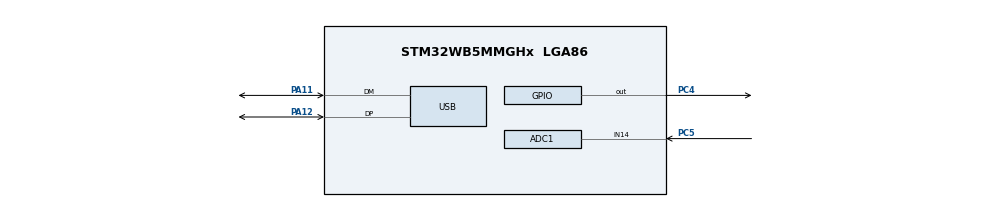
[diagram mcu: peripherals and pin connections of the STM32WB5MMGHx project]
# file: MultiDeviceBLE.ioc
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ADC1.Channel-2\#ChannelRegularConversion=ADC_CHANNEL_14
ADC1.NbrOfConversionFlag=1
ADC1.OffsetNumber-2\#ChannelRegularConversion=ADC_OFFSET_NONE
ADC1.Rank-2\#ChannelRegularConversion=1
ADC1.SamplingTime-2\#ChannelRegularConversion=ADC_SAMPLETIME_2CYCLES_5
ADC1.master=1
Mcu.Family=STM32WB
Mcu.Name=STM32WB5MMGHx
Mcu.Package=LGA86
NVIC.HSEM_IRQn=true\:0\:0\:false\:false\:true\:false\:true\:true
NVIC.IPCC_C1_RX_IRQn=true\:0\:0\:false\:false\:true\:true\:true\:true
NVIC.IPCC_C1_TX_IRQn=true\:0\:0\:false\:false\:true\:true\:true\:true
NVIC.PriorityGroup=NVIC_PRIORITYGROUP_4
NVIC.RTC_WKUP_IRQn=true\:0\:0\:false\:false\:true\:true\:true\:true
NVIC.USB_LP_IRQn=true\:0\:0\:false\:false\:true\:false\:true\:true
PA11.Mode=Device
PA11.Signal=USB_DM
PA12.Mode=Device
PA12.Signal=USB_DP
PA13.Mode=Trace_Asynchronous_SW
PA13.Signal=SYS_JTMS-SWDIO
PA14.Mode=Trace_Asynchronous_SW
PA14.Signal=SYS_JTCK-SWCLK
PB3.Mode=Trace_Asynchronous_SW
PB3.Signal=SYS_JTDO-SWO
PC4.Signal=GPIO_Output
PC5.Signal=ADCx_IN14
ProjectManager.HeapSize=0x200
ProjectManager.StackSize=0x400
ProjectManager.TargetToolchain=STM32CubeIDE
RCC.ADCFreq_Value=48000000
RCC.AHB2CLKDivider=RCC_SYSCLK_DIV2
RCC.AHBFreq_Value=64000000
RCC.APB1Freq_Value=64000000
RCC.APB1TimFreq_Value=64000000
RCC.APB2Freq_Value=64000000
RCC.APB2TimFreq_Value=64000000
RCC.APB3Freq_Value=16000000
RCC.Cortex2_Div=SYSTICK_CLKSOURCE_HCLK_DIV8
RCC.CortexFreq_Value=64000000
RCC.HCLKFreq_Value=64000000
RCC.HSE_VALUE=32000000
RCC.HSI48_VALUE=48000000
RCC.HSI_VALUE=16000000
RCC.PLLN=32
RCC.PLLSAI1N=24
RCC.SYSCLKFreq_VALUE=64000000
RCC.SYSCLKSource=RCC_SYSCLKSOURCE_PLLCLK
RCC.USBFreq_Value=48000000
RCC.VCOOutputFreq_Value=128000000
SH.ADCx_IN14.0=ADC1_IN14,IN14-Single-Ended
STM32_WPAN.AD_TYPE_COMPLETE_LOCAL_NAME=STM32BLE
STM32_WPAN.CUSTOM_P2P_SERVER=Disabled
STM32_WPAN.CUSTOM_TEMPLATE=Enabled
STM32_WPAN.INCLUDE_AD_TYPE_COMPLETE_LOCAL_NAME=1
STM32_WPAN.NUMBER_OF_SERVICES=1
STM32_WPAN.SERVICE1_CHAR1_LONG_NAME=charBLE
STM32_WPAN.SERVICE1_CHAR1_PROP_NOTIFY=CHAR_PROP_NOTIFY
STM32_WPAN.SERVICE1_CHAR1_SHORT_NAME=charBLE
STM32_WPAN.SERVICE1_CHAR1_VALUE_LENGTH=2
STM32_WPAN.SERVICE1_CHAR2_LONG_NAME=myCharNotify
STM32_WPAN.SERVICE1_CHAR2_PROP_NOTIFY=CHAR_PROP_NOTIFY
STM32_WPAN.SERVICE1_CHAR2_SHORT_NAME=myCharNotify
STM32_WPAN.SERVICE1_CHAR2_UUID=00 01
STM32_WPAN.SERVICE1_LONG_NAME=STM32BLE
STM32_WPAN.SERVICE1_NUMBER_OF_CHARACTERISTICS=1
STM32_WPAN.SERVICE1_SHORT_NAME=STM32BLE
USB_DEVICE.CLASS_NAME_FS=CDC
USB_DEVICE.VirtualMode=Cdc
USB_DEVICE.VirtualModeFS=Cdc_FS
VP_HSEM_VS_HSEM.Mode=HSEM_Activate
VP_IPCC_VS_IPCC.Mode=IPCC_Activate
VP_MEMORYMAP_VS_MEMORYMAP.Mode=CurAppReg
VP_RCC_V_OSC_IN.Mode=HSE-External-Clock-Source
VP_RF_VS_RF.Mode=RF_Activate
VP_RTC_VS_RTC_Activate.Mode=RTC_Enabled
VP_RTC_VS_RTC_WakeUp_intern.Mode=WakeUp
VP_SEQUENCER_VS_SEQUENCER.Mode=SEQUENCER_Enabled
VP_STM32_WPAN_VS_BLE_HOST.Mode=STM32_WPAN_Enabled
VP_TINY_LPM_VS_TINY_LPM.Mode=TINY_LPM_Enabled
VP_USB_DEVICE_VS_USB_DEVICE_CDC_FS.Mode=CDC_FS
board=custom

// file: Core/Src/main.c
/* USER CODE BEGIN Header */
/**
  ******************************************************************************
  * @file           : main.c
  * @brief          : Main program body
  ******************************************************************************
  * @attention
  *
  * Copyright (c) 2026 STMicroelectronics.
  * All rights reserved.
  *
  * This software is licensed under terms that can be found in the LICENSE file
  * in the root directory of this software component.
  * If no LICENSE file comes with this software, it is provided AS-IS.
  *
  ******************************************************************************
  */
/* USER CODE END Header */
#include "main.h"
#include "usb_device.h"

/* USER CODE BEGIN Includes */
#include "usbd_cdc_if.h"
#include <stdint.h>
#include <stdio.h>
#include "custom_stm.h"
/* USER CODE END Includes */

ADC_HandleTypeDef hadc1;

IPCC_HandleTypeDef hipcc;

RTC_HandleTypeDef hrtc;

void SystemClock_Config(void);
void PeriphCommonClock_Config(void);
static void MX_GPIO_Init(void);
static void MX_ADC1_Init(void);
static void MX_IPCC_Init(void);
static void MX_RTC_Init(void);
static void MX_RF_Init(void);

/* USER CODE BEGIN 0 */
volatile uint32_t adc = 0;
volatile uint32_t adc_ble = 0;
uint8_t txBuf[32];
HAL_StatusTypeDef status1;
HAL_StatusTypeDef status2;
/* USER CODE END 0 */

int main(void)
{

  /* MCU Configuration--------------------------------------------------------*/

  /* Reset of all peripherals, Initializes the Flash interface and the Systick. */
  HAL_Init();
  /* Config code for STM32_WPAN (HSE Tuning must be done before system clock configuration) */
  MX_APPE_Config();

  /* Configure the system clock */
  SystemClock_Config();

  /* Configure the peripherals common clocks */
  PeriphCommonClock_Config();

  /* IPCC initialisation */
  MX_IPCC_Init();

  /* Initialize all configured peripherals */
  MX_GPIO_Init();
  MX_USB_Device_Init();
  MX_ADC1_Init();
  MX_RTC_Init();
  MX_RF_Init();

  while(LL_HSEM_1StepLock(HSEM, CFG_HW_CLK48_CONFIG_SEMID));

  /* Init code for STM32_WPAN */
  MX_APPE_Init();

  /* Infinite loop */
  /* USER CODE BEGIN WHILE */
   HAL_GPIO_TogglePin(GPIOC, GPIO_PIN_5);
    HAL_Delay(1000);
    MX_APPE_Init();
    MX_ADC1_Init();

    // //Read ADC
    status1 = HAL_ADC_Start(&hadc1);
    //HAL_ADC_POLLForConversion(&hadc1, HAL_MAX_DELAY);

  while (1)
  {

    // //chaingin pin to analog
    // GPIO_InitTypeDef GPIO_InitStruct = {0};

    // GPIO_InitStruct.Pin = GPIO_PIN_5;
    // /* Use generic analog mode for ADC input */
    // GPIO_InitStruct.Mode = GPIO_MODE_ANALOG;
    // GPIO_InitStruct.Pull = GPIO_NOPULL;

    // MX_ADC1_Init();
    status2 = HAL_ADC_PollForConversion(&hadc1, HAL_MAX_DELAY);

    if(status2 == HAL_OK)
    {
    adc = HAL_ADC_GetValue(&hadc1);
    }
    adc_ble = (uint16_t) adc;

    Custom_STM_App_Update_Char(CUSTOM_STM_CHARBLE,(uint8_t *)&adc_ble);
     MX_APPE_Process();
    // int len = snprintf((char*)txBuf, sizeof(txBuf), "ADC=%lu\r\n", adc);
    // if(len>0)
    // {
    //   CDC_Transmit_FS(txBuf, (uint16_t) len);
    // }
    //HAL_ADC_Stop(&hadc1);
    // //Read ADC

    /* USER CODE END WHILE */
    MX_APPE_Process();

  }
}

void SystemClock_Config(void)
{
  RCC_OscInitTypeDef RCC_OscInitStruct = {0};
  RCC_ClkInitTypeDef RCC_ClkInitStruct = {0};

  /** Configure the main internal regulator output voltage
  */
  __HAL_PWR_VOLTAGESCALING_CONFIG(PWR_REGULATOR_VOLTAGE_SCALE1);

  /** Initializes the RCC Oscillators according to the specified parameters
  * in the RCC_OscInitTypeDef structure.
  */
  RCC_OscInitStruct.OscillatorType = RCC_OSCILLATORTYPE_HSI|RCC_OSCILLATORTYPE_LSI1
                              |RCC_OSCILLATORTYPE_HSE|RCC_OSCILLATORTYPE_LSE
                              |RCC_OSCILLATORTYPE_MSI;
  RCC_OscInitStruct.HSEState = RCC_HSE_ON;
  RCC_OscInitStruct.LSEState = RCC_LSE_OFF;
  RCC_OscInitStruct.HSIState = RCC_HSI_ON;
  RCC_OscInitStruct.MSIState = RCC_MSI_ON;
  RCC_OscInitStruct.HSICalibrationValue = RCC_HSICALIBRATION_DEFAULT;
  RCC_OscInitStruct.MSICalibrationValue = RCC_MSICALIBRATION_DEFAULT;
  RCC_OscInitStruct.MSIClockRange = RCC_MSIRANGE_6;
  RCC_OscInitStruct.LSIState = RCC_LSI_ON;
  RCC_OscInitStruct.PLL.PLLState = RCC_PLL_ON;
  RCC_OscInitStruct.PLL.PLLSource = RCC_PLLSOURCE_MSI;
  RCC_OscInitStruct.PLL.PLLM = RCC_PLLM_DIV1;
  RCC_OscInitStruct.PLL.PLLN = 32;
  RCC_OscInitStruct.PLL.PLLP = RCC_PLLP_DIV2;
  RCC_OscInitStruct.PLL.PLLR = RCC_PLLR_DIV2;
  RCC_OscInitStruct.PLL.PLLQ = RCC_PLLQ_DIV2;
  if (HAL_RCC_OscConfig(&RCC_OscInitStruct) != HAL_OK)
  {
    Error_Handler();
  }

  /** Configure the SYSCLKSource, HCLK, PCLK1 and PCLK2 clocks dividers
  */
  RCC_ClkInitStruct.ClockType = RCC_CLOCKTYPE_HCLK4|RCC_CLOCKTYPE_HCLK2
                              |RCC_CLOCKTYPE_HCLK|RCC_CLOCKTYPE_SYSCLK
                              |RCC_CLOCKTYPE_PCLK1|RCC_CLOCKTYPE_PCLK2;
  RCC_ClkInitStruct.SYSCLKSource = RCC_SYSCLKSOURCE_PLLCLK;
  RCC_ClkInitStruct.AHBCLKDivider = RCC_SYSCLK_DIV1;
  RCC_ClkInitStruct.APB1CLKDivider = RCC_HCLK_DIV1;
  RCC_ClkInitStruct.APB2CLKDivider = RCC_HCLK_DIV1;
  RCC_ClkInitStruct.AHBCLK2Divider = RCC_SYSCLK_DIV2;
  RCC_ClkInitStruct.AHBCLK4Divider = RCC_SYSCLK_DIV1;

  if (HAL_RCC_ClockConfig(&RCC_ClkInitStruct, FLASH_LATENCY_3) != HAL_OK)
  {
    Error_Handler();
  }

  /** Enable MSI Auto calibration
  */
  HAL_RCCEx_EnableMSIPLLMode();
}

void PeriphCommonClock_Config(void)
{
  RCC_PeriphCLKInitTypeDef PeriphClkInitStruct = {0};

  /** Initializes the peripherals clock
  */
  PeriphClkInitStruct.PeriphClockSelection = RCC_PERIPHCLK_SMPS|RCC_PERIPHCLK_RFWAKEUP
                              |RCC_PERIPHCLK_USB|RCC_PERIPHCLK_ADC;
  PeriphClkInitStruct.PLLSAI1.PLLN = 24;
  PeriphClkInitStruct.PLLSAI1.PLLP = RCC_PLLP_DIV2;
  PeriphClkInitStruct.PLLSAI1.PLLQ = RCC_PLLQ_DIV2;
  PeriphClkInitStruct.PLLSAI1.PLLR = RCC_PLLR_DIV2;
  PeriphClkInitStruct.PLLSAI1.PLLSAI1ClockOut = RCC_PLLSAI1_USBCLK|RCC_PLLSAI1_ADCCLK;
  PeriphClkInitStruct.UsbClockSelection = RCC_USBCLKSOURCE_PLLSAI1;
  PeriphClkInitStruct.AdcClockSelection = RCC_ADCCLKSOURCE_PLLSAI1;
  PeriphClkInitStruct.RFWakeUpClockSelection = RCC_RFWKPCLKSOURCE_HSE_DIV1024;
  PeriphClkInitStruct.SmpsClockSelection = RCC_SMPSCLKSOURCE_HSI;
  PeriphClkInitStruct.SmpsDivSelection = RCC_SMPSCLKDIV_RANGE1;

  if (HAL_RCCEx_PeriphCLKConfig(&PeriphClkInitStruct) != HAL_OK)
  {
    Error_Handler();
  }
}

static void MX_ADC1_Init(void)
{

  ADC_ChannelConfTypeDef sConfig = {0};

  /** Common config
  */
  hadc1.Instance = ADC1;
  hadc1.Init.ClockPrescaler = ADC_CLOCK_ASYNC_DIV1;
  hadc1.Init.Resolution = ADC_RESOLUTION_12B;
  hadc1.Init.DataAlign = ADC_DATAALIGN_RIGHT;
  hadc1.Init.ScanConvMode = ADC_SCAN_DISABLE;
  hadc1.Init.EOCSelection = ADC_EOC_SINGLE_CONV;
  hadc1.Init.LowPowerAutoWait = DISABLE;
  hadc1.Init.ContinuousConvMode = DISABLE;
  hadc1.Init.NbrOfConversion = 1;
  hadc1.Init.DiscontinuousConvMode = DISABLE;
  hadc1.Init.ExternalTrigConv = ADC_SOFTWARE_START;
  hadc1.Init.ExternalTrigConvEdge = ADC_EXTERNALTRIGCONVEDGE_NONE;
  hadc1.Init.DMAContinuousRequests = DISABLE;
  hadc1.Init.Overrun = ADC_OVR_DATA_PRESERVED;
  hadc1.Init.OversamplingMode = DISABLE;
  if (HAL_ADC_Init(&hadc1) != HAL_OK)
  {
    Error_Handler();
  }

  /** Configure Regular Channel
  */
  sConfig.Channel = ADC_CHANNEL_14;
  sConfig.Rank = ADC_REGULAR_RANK_1;
  sConfig.SamplingTime = ADC_SAMPLETIME_2CYCLES_5;
  sConfig.SingleDiff = ADC_SINGLE_ENDED;
  sConfig.OffsetNumber = ADC_OFFSET_NONE;
  sConfig.Offset = 0;
  if (HAL_ADC_ConfigChannel(&hadc1, &sConfig) != HAL_OK)
  {
    Error_Handler();
  }

}

static void MX_IPCC_Init(void)
{

  hipcc.Instance = IPCC;
  if (HAL_IPCC_Init(&hipcc) != HAL_OK)
  {
    Error_Handler();
  }

}

static void MX_RF_Init(void)
{

}

static void MX_RTC_Init(void)
{

  /** Initialize RTC Only
  */
  hrtc.Instance = RTC;
  hrtc.Init.HourFormat = RTC_HOURFORMAT_24;
  hrtc.Init.AsynchPrediv = CFG_RTC_ASYNCH_PRESCALER;
  hrtc.Init.SynchPrediv = CFG_RTC_SYNCH_PRESCALER;
  hrtc.Init.OutPut = RTC_OUTPUT_DISABLE;
  hrtc.Init.OutPutPolarity = RTC_OUTPUT_POLARITY_HIGH;
  hrtc.Init.OutPutType = RTC_OUTPUT_TYPE_OPENDRAIN;
  hrtc.Init.OutPutRemap = RTC_OUTPUT_REMAP_NONE;
  if (HAL_RTC_Init(&hrtc) != HAL_OK)
  {
    Error_Handler();
  }

  /** Enable the WakeUp
  */
  if (HAL_RTCEx_SetWakeUpTimer_IT(&hrtc, 0, RTC_WAKEUPCLOCK_RTCCLK_DIV16) != HAL_OK)
  {
    Error_Handler();
  }

}

static void MX_GPIO_Init(void)
{
  GPIO_InitTypeDef GPIO_InitStruct = {0};

  /* GPIO Ports Clock Enable */
  __HAL_RCC_GPIOB_CLK_ENABLE();
  __HAL_RCC_GPIOA_CLK_ENABLE();
  __HAL_RCC_GPIOC_CLK_ENABLE();

  /*Configure GPIO pin Output Level */
  HAL_GPIO_WritePin(GPIOC, GPIO_PIN_4, GPIO_PIN_RESET);

  /*Configure GPIO pin : PC4 */
  GPIO_InitStruct.Pin = GPIO_PIN_4;
  GPIO_InitStruct.Mode = GPIO_MODE_OUTPUT_PP;
  GPIO_InitStruct.Pull = GPIO_NOPULL;
  GPIO_InitStruct.Speed = GPIO_SPEED_FREQ_LOW;
  HAL_GPIO_Init(GPIOC, &GPIO_InitStruct);

}

void Error_Handler(void)
{
  __disable_irq();
  while (1)
  {
  }
}
